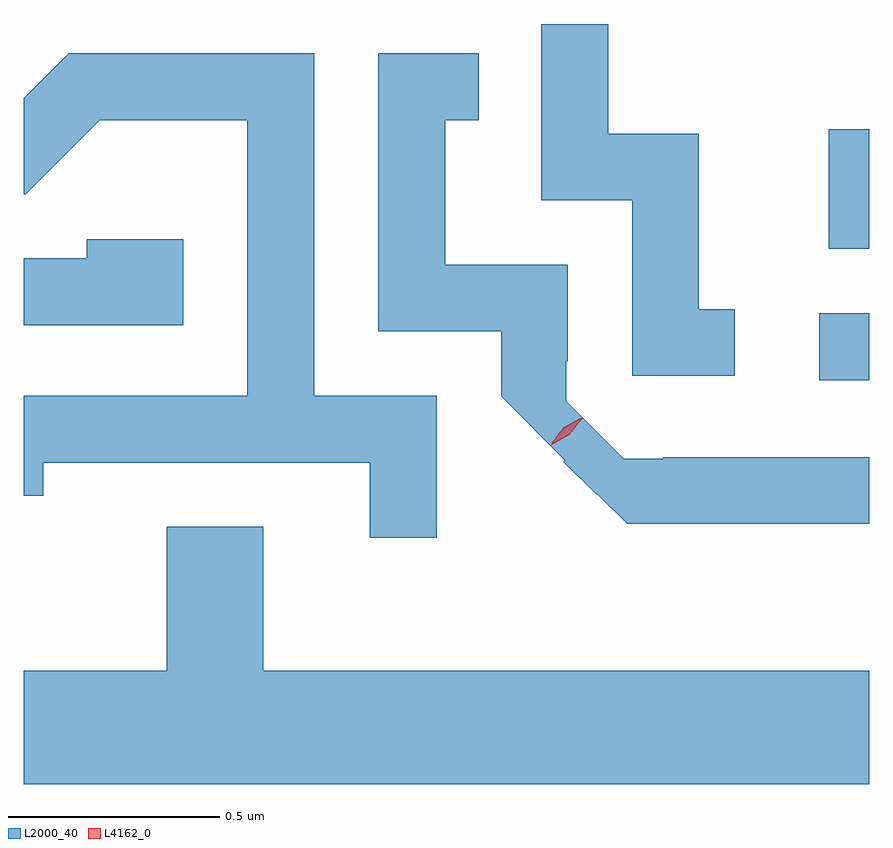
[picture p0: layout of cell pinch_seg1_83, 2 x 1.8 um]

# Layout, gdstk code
import gdstk
lib = gdstk.Library(unit=1e-6, precision=1e-09)
def R(c, l, rs):  # rectangles x0, y0, x1, y1
    for r in rs: c.add(gdstk.rectangle(r[:2], r[2:], *l))
def P(c, l, *ps):  # polygons
    for p in ps: c.add(gdstk.Polygon(p, *l))
L2000_40 = (2000, 40)
L4162_0 = (4162, 0)

pinch_seg1_83 = lib.new_cell('pinch_seg1_83')
R(pinch_seg1_83, L2000_40, [(1466.583,858.351,1466.702,858.509), (1466.606,858.661,1466.702,858.944)])
P(pinch_seg1_83, L2000_40, [(1466.383,858.519),(1466.299,858.519),(1466.299,858.934),(1466.084,858.934),(1466.084,859.193),(1465.926,859.193),(1465.926,858.776),(1466.141,858.776),(1466.141,858.361),(1466.383,858.361)],
  [(1466.702,858.169),(1466.215,858.169),(1466.215,858.165),(1466.121,858.165),(1465.985,858.301),(1465.985,858.395),(1465.989,858.395),(1465.989,858.624),(1465.699,858.624),(1465.699,858.966),(1465.778,858.966),(1465.778,859.124),(1465.541,859.124),(1465.541,858.466),(1465.831,858.466),(1465.831,858.313),(1465.982,858.162),(1465.978,858.158),(1466.057,858.08),(1466.059,858.081),(1466.129,858.011),(1466.702,858.011)],
  [(1465.679,858.314),(1465.389,858.314),(1465.389,859.124),(1464.809,859.124),(1464.702,859.017),(1464.702,858.791),(1464.707,858.791),(1464.882,858.966),(1465.231,858.966),(1465.231,858.314),(1464.702,858.314),(1464.702,858.078),(1464.749,858.078),(1464.749,858.156),(1465.521,858.156),(1465.521,857.978),(1465.679,857.978)],
  [(1465.079,858.684),(1464.851,858.684),(1464.851,858.639),(1464.702,858.639),(1464.702,858.481),(1465.079,858.481)],
  [(1466.702,857.664),(1465.269,857.664),(1465.269,858.004),(1465.041,858.004),(1465.041,857.664),(1464.702,857.664),(1464.702,857.396),(1466.702,857.396)])
P(pinch_seg1_83, L4162_0, [(1465.948,858.197),(1465.948,858.197),(1465.98,858.237),(1466.023,858.262),(1466.024,858.262),(1466.024,858.262),(1465.992,858.222),(1465.949,858.197)],
  [(1465.951,858.201),(1465.951,858.202),(1465.978,858.238),(1466.018,858.261),(1466.018,858.261),(1466.018,858.26),(1465.991,858.224),(1465.952,858.201)])

lib.write_gds('pinch_seg1_83.gds')
